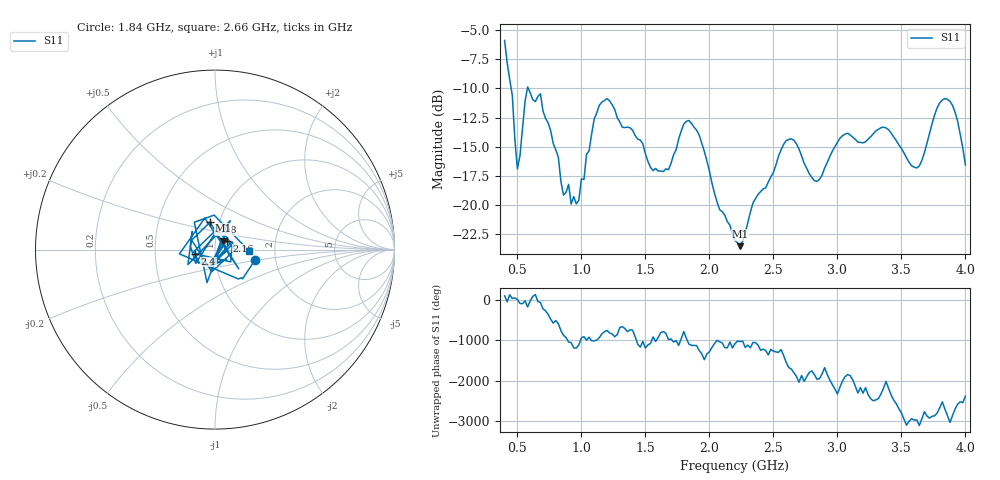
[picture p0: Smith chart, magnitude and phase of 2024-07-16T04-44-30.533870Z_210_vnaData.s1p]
!Created with skrf (http://scikit-rf.org).
# Hz S RI R 50.0
!freq ReS11 ImS11
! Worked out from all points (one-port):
!   181 points, 400 MHz to 4 GHz, reference 50 ohm
!   lowest |S11| = -23.5 dB at 2.24 GHz (marker M1), VSWR 1.14, Z = 54.3 + j5.5 ohm
!   |S11| at or under -10 dB: 451.1 MHz to 578.1 MHz (126.9 MHz wide, 24.7 % of centre); 584.6 MHz to end of sweep
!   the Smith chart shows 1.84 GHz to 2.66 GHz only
!   S11 on the Smith chart (normalised r, x): 1.84 GHz: 1.56, -0.19; 1.98 GHz: 0.90, +0.28; 2.16 GHz: 1.13, +0.11; 2.4 GHz: 0.80, -0.04; 2.66 GHz: 1.47, -0.02
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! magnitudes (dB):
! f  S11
! 400 MHz  -5.9
! 460 MHz  -10.6
! 500 MHz  -16.9
! 580 MHz  -9.9
! 680 MHz  -10.5
! 820 MHz  -15.9
! 860 MHz  -19.1
! 980 MHz  -19.6
! 1.14 GHz  -11.4
! 1.3 GHz  -12.9
! 1.56 GHz  -17.0
! 1.68 GHz  -17.0
! 1.76 GHz  -14.3
! 1.84 GHz  -12.8
! 1.98 GHz  -16.2
! 2.16 GHz  -21.7
! 2.2 GHz  -23.0
! 2.24 GHz  -23.5
! 2.4 GHz  -18.8
! 2.66 GHz  -14.4
! 2.84 GHz  -18.0
! 3.1 GHz  -14.0
! 3.38 GHz  -13.4
! 3.56 GHz  -16.3
! 3.64 GHz  -16.6
! 3.84 GHz  -10.9
! 3.92 GHz  -12.1
! 4 GHz  -16.6
